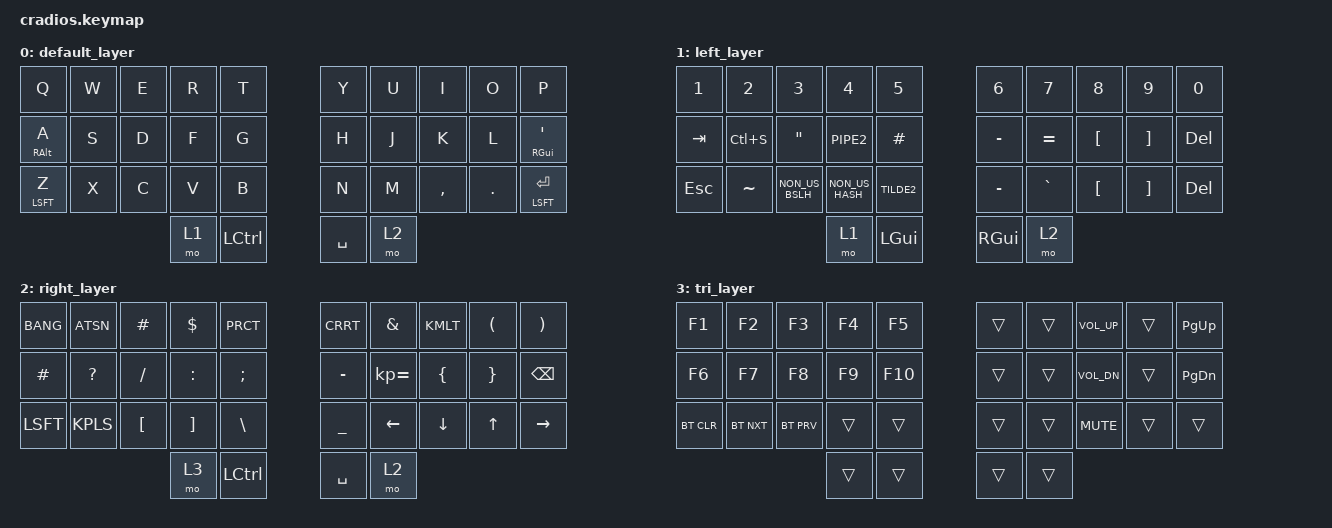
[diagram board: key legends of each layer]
#include <behaviors.dtsi>
#include <dt-bindings/zmk/keys.h>
#include <dt-bindings/zmk/bt.h>

&mt {
    flavor = "tap-preferred";
    tapping_term_ms = <175>;
};

/ { 

        keymap {
                compatible = "zmk,keymap";
                
       		default_layer {
		bindings = <
		&kp Q &kp W &kp E &kp R &kp T 						&kp Y &kp U  &kp I    &kp O   &kp P 
		&mt RALT A &kp S &kp D &kp F &kp G 			        	&kp H &kp J &kp K &kp L &mt RGUI QUOT
		&mt LSFT Z &kp X &kp C &kp V &kp B				        &kp N &kp M  &kp CMMA &kp DOT &mt LSFT RET
          				&mo 1 &kp LCTL  				&kp SPC &mo 2 
		>;
		};
       		
       		left_layer {
		bindings = <
		&kp NUM_1  &kp NUM_2    &kp NUM_3    &kp NUM_4    &kp NUM_5		&kp NUM_6 &kp NUM_7 &kp NUM_8 &kp NUM_9 &kp NUM_0 
		&kp TAB    &kp LC(S)    &kp DQT      &kp PIPE2     &kp HASH 		&kp MINUS &kp EQL  &kp LBKT &kp RBKT  &kp DEL 
		&kp ESC    &kp TILDE 	&kp NON_US_BSLH &kp NON_US_HASH  &kp TILDE2 	&kp MINUS &kp GRAVE &kp LBKT &kp RBKT  &kp DEL 
					    &mo 1  &kp LGUI  					&kp RGUI &mo 2 
		>;
		};
		
		right_layer {
		bindings = <
		&kp BANG  &kp ATSN &kp HASH  &kp DLLR  &kp PRCT    			&kp CRRT  &kp AMPS &kp KMLT &kp LPRN &kp RPRN 
		&kp HASH  &kp QMARK  &kp FSLH  &kp COLN  &kp SCLN 			&kp MINUS &kp KP_EQUAL  &kp LBRC  &kp RBRC   &kp BKSP
		&kp LSFT  &kp KPLS &kp LBKT &kp RBKT   &kp BSLH    			&kp UNDER &kp LEFT &kp DOWN &kp UP  &kp RIGHT
					  &mo 3 &kp LCTL  				&kp SPC  &mo 2 
		>;
		};	
		
		tri_layer {
		bindings = <
		&kp F1 &kp F2 &kp F3 &kp F4 &kp F5  			&trans &trans  &kp K_VOL_UP &trans  &kp PG_UP
		&kp F6 &kp F7 &kp F8 &kp F9 &kp F10  			&trans &trans  &kp K_VOL_DN &trans  &kp PG_DN
		&bt BT_CLR  &bt BT_NXT &bt BT_PRV &trans &trans   	&trans &trans  &kp K_MUTE   &trans &trans   
					 &trans &trans  		&trans &trans 
		>;
		};	
        
	};
};
